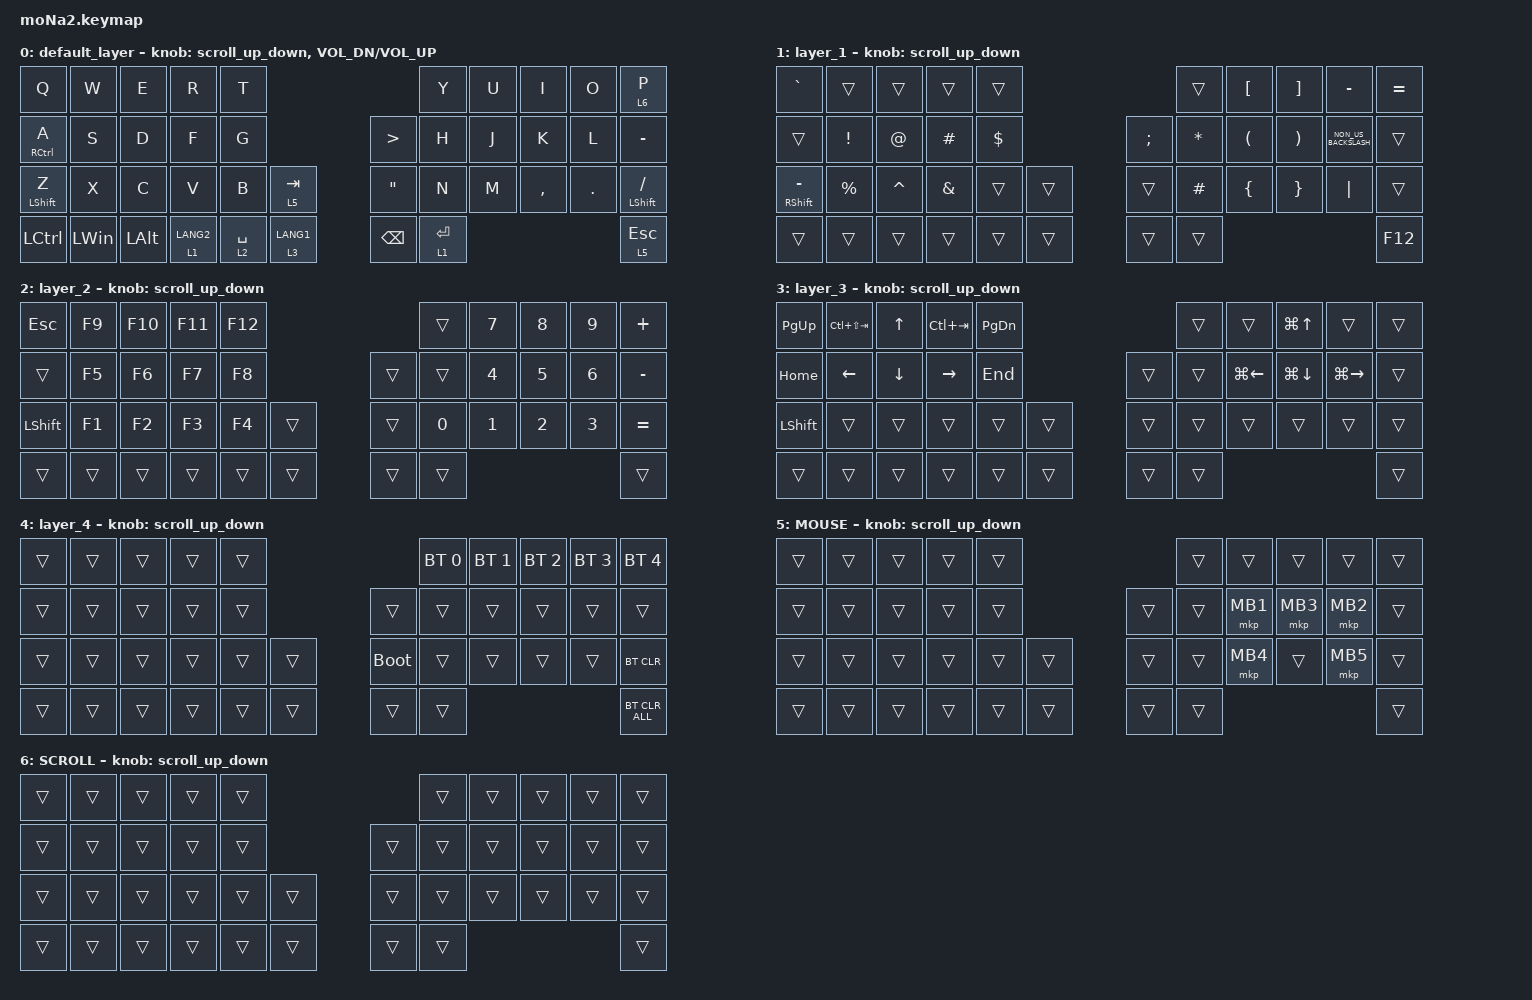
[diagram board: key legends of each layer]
#include <behaviors.dtsi>
#include <dt-bindings/zmk/bt.h>
#include <dt-bindings/zmk/keys.h>
#include <dt-bindings/zmk/pointing.h>

#define ZMK_POINTING_DEFAULT_SCRL_VAL 100
#define MOUSE 5
#define SCROLL 6

&mt {
    flavor = "balanced";
    quick-tap-ms = <0>;
};

/ {
    combos { compatible = "zmk,combos"; };

    macros {
        to_layer_0: to_layer_0 {
            compatible = "zmk,behavior-macro-one-param";
            #binding-cells = <1>;
            bindings = <&to 0 &macro_param_1to1 &kp MACRO_PLACEHOLDER>;
            label = "TO_LAYER_0";
        };
    };

    behaviors {
        lt_to_layer_0: lt_to_layer_0 {
            compatible = "zmk,behavior-hold-tap";
            label = "LAYER_TAP_TO_0";
            bindings = <&mo>, <&to_layer_0>;

            #binding-cells = <2>;
            tapping-term-ms = <200>;
        };

        scroll_up_down: behavior_sensor_rotate_mouse_wheel_up_down {
            compatible = "zmk,behavior-sensor-rotate";
            #sensor-binding-cells = <0>;
            bindings = <&msc SCRL_UP>, <&msc SCRL_DOWN>;

            tap-ms = <20>;
        };
    };

    keymap {
        compatible = "zmk,keymap";

        default_layer {
            bindings = <
&kp Q             &kp W         &kp E         &kp R        &kp T                                          &kp Y        &kp U  &kp I      &kp O    &lt 6 P
&mt RCTRL A       &kp S         &kp D         &kp F        &kp G                       &kp GREATER_THAN   &kp H        &kp J  &kp K      &kp L    &kp MINUS
&mt LEFT_SHIFT Z  &kp X         &kp C         &kp V        &kp B        &lt 5 TAB      &kp DOUBLE_QUOTES  &kp N        &kp M  &kp COMMA  &kp DOT  &mt LSHIFT SLASH
&kp LCTRL         &kp LEFT_WIN  &kp LEFT_ALT  &lt 1 LANG2  &lt 2 SPACE  &lt 3 LANG1    &kp BACKSPACE      &lt 1 ENTER                             &lt 5 ESC
            >;

            sensor-bindings =
                <&scroll_up_down>,
                <&inc_dec_kp C_VOL_DN C_VOL_UP>;
        };

        layer_1 {
            bindings = <
&kp GRAVE        &trans           &trans       &trans         &trans                               &trans        &kp LEFT_BRACKET      &kp RIGHT_BRACKET      &kp MINUS             &kp EQUAL
&trans           &kp EXCLAMATION  &kp AT_SIGN  &kp HASH       &kp DOLLAR            &kp SEMICOLON  &kp ASTERISK  &kp LEFT_PARENTHESIS  &kp RIGHT_PARENTHESIS  &kp NON_US_BACKSLASH  &trans
&mt RSHFT MINUS  &kp PERCENT      &kp CARET    &kp AMPERSAND  &trans      &trans    &trans         &kp HASH      &kp LEFT_BRACE        &kp RIGHT_BRACE        &kp PIPE              &trans
&trans           &trans           &trans       &trans         &trans      &trans    &trans         &trans                                                                           &kp F12
            >;

            sensor-bindings = <&scroll_up_down>;
        };

        layer_2 {
            bindings = <
&kp ESC         &kp F9  &kp F10  &kp F11  &kp F12                    &trans  &kp N7        &kp N8        &kp N9        &kp PLUS
&trans          &kp F5  &kp F6   &kp F7   &kp F8             &trans  &trans  &kp NUMBER_4  &kp N5        &kp NUMBER_6  &kp MINUS
&kp LEFT_SHIFT  &kp F1  &kp F2   &kp F3   &kp F4   &trans    &trans  &kp N0  &kp NUMBER_1  &kp NUMBER_2  &kp NUMBER_3  &kp EQUAL
&trans          &trans  &trans   &trans   &trans   &trans    &trans  &trans                                            &trans
            >;

            sensor-bindings = <&scroll_up_down>;
        };

        layer_3 {
            bindings = <
&kp PG_UP       &kp LC(LS(TAB))  &kp UP_ARROW    &kp LC(TAB)      &kp PAGE_DOWN                    &trans  &trans              &kp LG(UP_ARROW)    &trans               &trans
&kp HOME        &kp LEFT_ARROW   &kp DOWN_ARROW  &kp RIGHT_ARROW  &kp END                  &trans  &trans  &kp LG(LEFT_ARROW)  &kp LG(DOWN_ARROW)  &kp LG(RIGHT_ARROW)  &trans
&kp LEFT_SHIFT  &trans           &trans          &trans           &trans         &trans    &trans  &trans  &trans              &trans              &trans               &trans
&trans          &trans           &trans          &trans           &trans         &trans    &trans  &trans                                                               &trans
            >;

            sensor-bindings = <&scroll_up_down>;
        };

        layer_4 {
            bindings = <
&trans  &trans  &trans  &trans  &trans                         &bt BT_SEL 0  &bt BT_SEL 1  &bt BT_SEL 2  &bt BT_SEL 3  &bt BT_SEL 4
&trans  &trans  &trans  &trans  &trans            &trans       &trans        &trans        &trans        &trans        &trans
&trans  &trans  &trans  &trans  &trans  &trans    &bootloader  &trans        &trans        &trans        &trans        &bt BT_CLR
&trans  &trans  &trans  &trans  &trans  &trans    &trans       &trans                                                  &bt BT_CLR_ALL
            >;

            sensor-bindings = <&scroll_up_down>;
        };

        MOUSE {
            bindings = <
&trans  &trans  &trans  &trans  &trans                    &trans  &trans    &trans    &trans    &trans
&trans  &trans  &trans  &trans  &trans            &trans  &trans  &mkp MB1  &mkp MB3  &mkp MB2  &trans
&trans  &trans  &trans  &trans  &trans  &trans    &trans  &trans  &mkp MB4  &trans    &mkp MB5  &trans
&trans  &trans  &trans  &trans  &trans  &trans    &trans  &trans                                &trans
            >;

            sensor-bindings = <&scroll_up_down>;
        };

        SCROLL {
            bindings = <
&trans  &trans  &trans  &trans  &trans                    &trans  &trans  &trans  &trans  &trans
&trans  &trans  &trans  &trans  &trans            &trans  &trans  &trans  &trans  &trans  &trans
&trans  &trans  &trans  &trans  &trans  &trans    &trans  &trans  &trans  &trans  &trans  &trans
&trans  &trans  &trans  &trans  &trans  &trans    &trans  &trans                          &trans
            >;

            sensor-bindings = <&scroll_up_down>;
        };
    };
};
